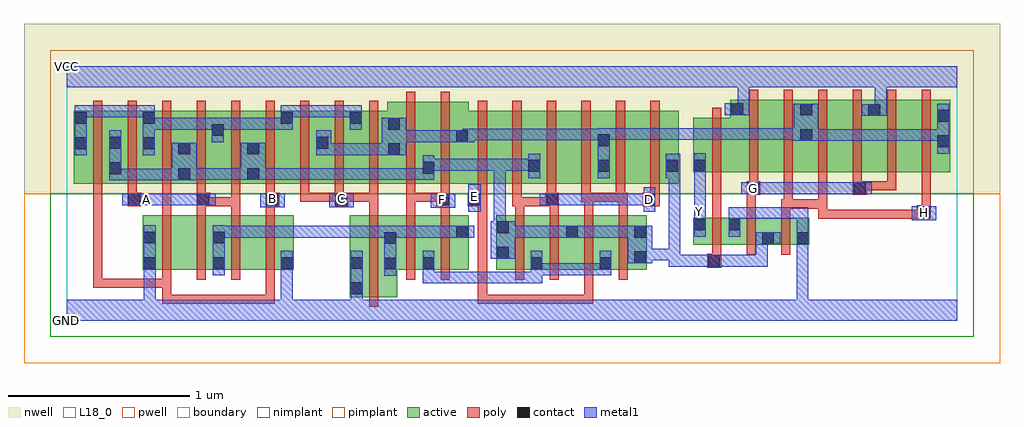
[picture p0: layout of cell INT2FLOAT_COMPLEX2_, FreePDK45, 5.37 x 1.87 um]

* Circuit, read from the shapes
.subckt INT2FLOAT_COMPLEX2_ A B C D E F G GND H VCC Y
M1 n1 B GND VSUBS nfet w=0.3u l=0.05u
M2 n2 A n1 VSUBS nfet w=0.3u l=0.05u
M3 n3 A n2 VSUBS nfet w=0.3u l=0.05u
M4 GND B n3 VSUBS nfet w=0.3u l=0.05u
M5 n2 C GND VSUBS nfet w=0.45u l=0.05u
M6 n4 F n2 VSUBS nfet w=0.3u l=0.05u m=2
M7 n4 D n5 VSUBS nfet w=0.3u l=0.05u m=2
M8 n4 E n5 VSUBS nfet w=0.3u l=0.05u m=2
M9 GND n5 Y VSUBS nfet w=0.15u l=0.05u
M10 n5 G GND VSUBS nfet w=0.15u l=0.05u
M11 GND H n5 VSUBS nfet w=0.15u l=0.05u
M12 n5 B n6 n7 pfet w=0.4u l=0.05u m=3
M13 n6 A n5 n7 pfet w=0.4u l=0.05u m=3
M14 n8 C n6 n7 pfet w=0.4u l=0.05u m=3
M15 n5 F n8 n7 pfet w=0.45u l=0.05u m=2
M16 n9 E n8 n7 pfet w=0.4u l=0.05u
M17 n5 D n9 n7 pfet w=0.4u l=0.05u
M18 n10 D n5 n7 pfet w=0.4u l=0.05u
M19 n8 E n10 n7 pfet w=0.4u l=0.05u
M20 n11 E n8 n7 pfet w=0.4u l=0.05u
M21 n5 D n11 n7 pfet w=0.4u l=0.05u
M22 VCC n5 Y n7 pfet w=0.3u l=0.05u
M23 n12 G VCC n7 pfet w=0.4u l=0.05u
M24 n8 H n12 n7 pfet w=0.4u l=0.05u
M25 n13 H n8 n7 pfet w=0.4u l=0.05u
M26 VCC G n13 n7 pfet w=0.4u l=0.05u
M27 n14 G VCC n7 pfet w=0.4u l=0.05u
M28 n8 H n14 n7 pfet w=0.4u l=0.05u
.ends

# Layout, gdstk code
import gdstk
lib = gdstk.Library(unit=1e-6, precision=1e-09)
def R(c, l, rs):  # rectangles x0, y0, x1, y1
    for r in rs: c.add(gdstk.rectangle(r[:2], r[2:], *l))
def A(c, l, x, y, w, h, nx, ny, dx, dy):  # array of equal rectangles
    R(c, l, [(x+i*dx, y+j*dy, x+i*dx+w, y+j*dy+h) for i in range(nx) for j in range(ny)])
active = (1, 0)
pwell = (2, 0)
nwell = (3, 0)
nimplant = (4, 0)
pimplant = (5, 0)
poly = (9, 0)
contact = (10, 0)
metal1 = (11, 0)
L18_0 = (18, 0)
boundary = (235, 0)

int2float_complex2_ = lib.new_cell('INT2FLOAT_COMPLEX2_')
A(int2float_complex2_, active, 0.23, 0.755, 0.075, 0.315, 4, 1, 0.38, 0)
A(int2float_complex2_, active, 0.23, 0.755, 0.26, 0.4, 4, 1, 0.38, 0)
A(int2float_complex2_, active, 0.415, 0.755, 0.27, 0.4, 3, 1, 0.38, 0)
R(int2float_complex2_, active, [(1.56,0.13,1.82,0.58), (1.56,0.13,1.635,0.542), (1.745,0.2,1.82,0.58), (0.42,0.28,0.495,0.58), (0.42,0.28,0.645,0.58), (0.645,0.28,0.875,0.58), (0.8,0.28,0.875,0.517), (0.8,0.28,1.025,0.58), (1.025,0.28,1.25,0.58), (1.175,0.28,1.25,0.58), (1.745,0.28,2.03,0.58), (1.955,0.28,2.215,0.58), (1.955,0.28,2.03,0.395), (2.365,0.28,2.625,0.58), (2.55,0.28,2.82,0.58), (2.55,0.28,2.625,0.517), (2.745,0.28,3.005,0.58), (2.93,0.28,3.195,0.58), (2.93,0.28,3.005,0.445), (3.12,0.28,3.195,0.58), (2.14,0.33,2.215,0.58), (2.365,0.33,2.44,0.58), (2.745,0.33,2.82,0.527), (3.45,0.417,3.525,0.567), (3.45,0.417,3.715,0.567), (3.64,0.417,3.715,0.567), (3.64,0.417,3.9,0.567), (3.825,0.417,4.09,0.567), (3.825,0.417,3.9,0.492), (4.015,0.417,4.09,0.567), (0.04,0.755,0.115,1.155), (0.04,0.755,0.305,1.155), (0.415,0.755,0.49,1.155), (1.175,0.755,1.25,1.155), (1.555,0.755,1.63,1.155), (1.555,0.755,1.84,1.155), (1.765,0.755,1.84,1.2), (1.765,0.755,2.03,1.205), (1.955,0.755,2.215,1.205), (1.955,0.755,2.03,1.07), (2.14,0.755,2.385,1.155), (2.14,0.755,2.215,1.2), (2.385,0.755,2.612,1.155), (2.537,0.755,2.612,1.07), (2.537,0.755,2.765,1.155), (2.765,0.755,2.995,1.155), (2.92,0.755,3.145,1.155), (2.92,0.755,2.995,1.155), (3.145,0.755,3.37,1.155), (3.295,0.755,3.37,1.07), (3.45,0.817,3.73,1.117), (3.45,0.817,3.525,1.055), (3.655,0.817,3.88,1.217), (3.88,0.817,4.11,1.217), (4.035,0.817,4.26,1.217), (4.035,0.817,4.11,1.2), (4.26,0.817,4.485,1.217), (4.41,0.817,4.64,1.217), (4.41,0.817,4.485,1.217), (4.64,0.817,4.865,1.217), (4.79,0.817,4.865,1.165), (0.795,0.827,0.87,1.155), (3.655,0.96,3.73,1.217)])
R(int2float_complex2_, pwell, [(-0.235,-0.235,5.14,0.7)])
R(int2float_complex2_, nwell, [(-0.235,0.7,5.14,1.635)])
R(int2float_complex2_, nimplant, [(-0.09,-0.09,4.995,0.7)])
R(int2float_complex2_, pimplant, [(-0.09,0.7,4.995,1.49)])
A(int2float_complex2_, poly, 0.525, 0.225, 0.05, 0.41, 4, 1, 0.19, 0)
A(int2float_complex2_, poly, 2.47, 0.225, 0.05, 0.41, 4, 1, 0.19, 0)
A(int2float_complex2_, poly, 3.555, 0.362, 0.05, 0.26, 3, 1, 0.19, 0)
A(int2float_complex2_, poly, 0.525, 0.585, 0.05, 0.095, 4, 1, 0.19, 0)
A(int2float_complex2_, poly, 0.335, 0.63, 0.075, 0.075, 4, 1, 0.38, 0)
A(int2float_complex2_, poly, 0.335, 0.655, 0.05, 0.095, 3, 1, 0.38, 0)
A(int2float_complex2_, poly, 1.285, 0.655, 0.05, 0.095, 3, 1, 0.19, 0)
A(int2float_complex2_, poly, 2.645, 0.655, 0.05, 0.095, 4, 1, 0.19, 0)
A(int2float_complex2_, poly, 0.145, 0.7, 0.05, 0.51, 9, 1, 0.19, 0)
A(int2float_complex2_, poly, 2.265, 0.7, 0.05, 0.51, 6, 1, 0.19, 0)
A(int2float_complex2_, poly, 3.76, 0.762, 0.05, 0.51, 6, 1, 0.19, 0)
R(int2float_complex2_, poly, [(1.665,0.075,1.715,0.635), (0.525,0.092,0.707,0.142), (0.525,0.092,0.575,0.23), (0.657,0.092,0.707,0.142), (0.657,0.092,0.707,0.142), (0.657,0.092,0.707,0.142), (0.657,0.092,0.922,0.142), (0.872,0.092,0.922,0.142), (0.872,0.092,0.922,0.142), (0.872,0.092,0.922,0.142), (0.872,0.092,1.145,0.142), (1.095,0.092,1.145,0.142), (1.095,0.092,1.145,0.142), (1.095,0.092,1.145,0.142), (1.095,0.092,1.145,0.275), (2.265,0.092,2.315,0.142), (2.265,0.092,2.315,0.142), (2.265,0.092,2.315,0.142), (2.265,0.092,2.315,0.142), (2.265,0.092,2.315,0.142), (2.265,0.092,2.315,0.142), (2.265,0.092,2.315,0.142), (2.265,0.092,2.315,0.142), (2.265,0.092,2.315,0.142), (2.265,0.092,2.447,0.142), (2.265,0.092,2.315,0.68), (2.397,0.092,2.447,0.142), (2.397,0.092,2.447,0.142), (2.397,0.092,2.447,0.142), (2.397,0.092,2.752,0.142), (2.702,0.092,2.752,0.142), (2.702,0.092,2.752,0.142), (2.702,0.092,2.752,0.142), (2.702,0.092,2.9,0.142), (2.85,0.092,2.9,0.142), (2.85,0.092,2.9,0.275), (0.145,0.18,0.195,0.23), (0.145,0.18,0.195,0.23), (0.145,0.18,0.195,0.23), (0.145,0.18,0.195,0.23), (0.145,0.18,0.195,0.23), (0.145,0.18,0.195,0.23), (0.145,0.18,0.195,0.23), (0.145,0.18,0.195,0.23), (0.145,0.18,0.195,0.23), (0.145,0.18,0.195,0.23), (0.145,0.18,0.195,0.23), (0.145,0.18,0.442,0.23), (0.145,0.18,0.195,0.75), (0.392,0.18,0.442,0.23), (0.392,0.18,0.442,0.23), (0.392,0.18,0.442,0.23), (0.392,0.18,0.575,0.23), (0.525,0.18,0.575,0.275), (1.87,0.225,1.92,0.635), (2.06,0.225,2.11,0.635), (3.527,0.292,3.605,0.367), (3.555,0.317,3.605,0.412), (4.14,0.56,4.19,0.61), (4.14,0.56,4.19,0.61), (4.14,0.56,4.19,0.61), (4.14,0.56,4.19,0.61), (4.14,0.56,4.19,0.61), (4.14,0.56,4.322,0.61), (4.14,0.56,4.19,0.667), (4.272,0.56,4.322,0.61), (4.272,0.56,4.322,0.61), (4.272,0.56,4.322,0.61), (4.272,0.56,4.602,0.61), (4.552,0.56,4.602,0.61), (4.552,0.56,4.735,0.61), (4.685,0.56,4.735,0.61), (4.685,0.56,4.735,0.61), (4.685,0.56,4.735,0.61), (4.685,0.56,4.735,0.61), (4.685,0.56,4.735,0.61), (4.685,0.56,4.735,0.61), (4.685,0.56,4.76,0.635), (3.555,0.572,3.605,0.667), (3.745,0.572,3.795,0.742), (3.935,0.572,3.985,0.667), (1.665,0.585,1.715,0.705), (1.87,0.585,1.92,0.705), (2.06,0.585,2.11,0.68), (2.47,0.585,2.52,0.68), (2.66,0.585,2.71,0.68), (2.85,0.585,2.9,0.705), (3.04,0.585,3.09,0.705), (4.71,0.585,4.76,0.812), (3.555,0.617,3.605,0.667), (3.555,0.617,3.605,0.812), (3.935,0.617,4,0.667), (3.95,0.617,4,0.667), (3.95,0.617,4,0.667), (3.95,0.617,4,0.812), (3.95,0.617,4.19,0.667), (4.14,0.617,4.19,0.667), (4.14,0.617,4.19,0.812), (0.525,0.63,0.575,0.68), (0.525,0.63,0.575,0.75), (0.74,0.63,0.955,0.68), (0.905,0.63,0.955,0.68), (0.905,0.63,0.955,0.68), (0.905,0.63,0.955,0.68), (0.905,0.63,0.955,0.75), (2.035,0.63,2.11,0.705), (2.21,0.63,2.315,0.705), (2.455,0.63,2.52,0.68), (2.455,0.63,2.505,0.75), (2.47,0.63,2.52,0.68), (2.47,0.63,2.52,0.68), (2.47,0.63,2.685,0.68), (2.635,0.63,2.71,0.705), (3.172,0.63,3.265,0.705), (1.285,0.655,1.335,0.705), (1.285,0.655,1.525,0.705), (1.475,0.655,1.525,0.705), (1.475,0.655,1.525,0.705), (1.5,0.655,1.715,0.705), (1.665,0.655,1.715,0.705), (1.665,0.655,1.715,0.705), (1.665,0.655,1.715,0.705), (1.87,0.655,1.92,0.705), (1.87,0.655,1.92,0.705), (1.87,0.655,1.92,0.705), (1.87,0.655,1.92,0.75), (1.87,0.655,2.085,0.705), (2.06,0.655,2.11,0.75), (2.265,0.655,2.315,0.75), (2.835,0.655,2.9,0.705), (2.85,0.655,2.9,0.705), (2.85,0.655,2.9,0.705), (2.85,0.655,3.075,0.705), (3.025,0.655,3.09,0.705), (3.745,0.692,3.82,0.767), (4.33,0.692,4.405,0.767), (1.87,0.7,1.92,1.26), (2.06,0.7,2.11,1.26), (3.76,0.717,3.81,0.812), (4.33,0.717,4.38,0.812), (4.355,0.717,4.57,0.767), (4.52,0.717,4.57,0.767), (4.52,0.717,4.57,0.767), (4.52,0.717,4.57,0.767), (4.52,0.717,4.57,0.812), (3.555,0.762,3.605,1.172)])
A(int2float_complex2_, contact, 0.34, 0.635, 0.065, 0.065, 4, 1, 0.38, 0)
R(int2float_complex2_, contact, [(1.565,0.145,1.63,0.21), (1.75,0.282,1.815,0.347), (0.425,0.285,0.49,0.35), (0.805,0.285,0.87,0.35), (1.18,0.285,1.245,0.35), (1.565,0.285,1.63,0.35), (1.96,0.285,2.025,0.35), (2.555,0.285,2.62,0.35), (2.935,0.285,3,0.35), (3.532,0.297,3.597,0.362), (3.125,0.317,3.19,0.382), (2.37,0.342,2.435,0.407), (1.75,0.422,1.815,0.487), (3.83,0.422,3.895,0.487), (4.02,0.422,4.085,0.487), (0.425,0.425,0.49,0.49), (0.805,0.425,0.87,0.49), (2.145,0.457,2.21,0.522), (2.75,0.457,2.815,0.522), (3.125,0.457,3.19,0.522), (2.37,0.482,2.435,0.547), (3.455,0.497,3.52,0.562), (3.645,0.497,3.71,0.562), (4.69,0.565,4.755,0.63), (2.04,0.635,2.105,0.7), (2.215,0.635,2.28,0.7), (2.64,0.635,2.705,0.7), (3.177,0.635,3.242,0.7), (3.75,0.697,3.815,0.762), (4.335,0.697,4.4,0.762), (0.615,0.775,0.68,0.84), (0.995,0.775,1.06,0.84), (0.235,0.807,0.3,0.872), (1.96,0.81,2.025,0.875), (2.542,0.82,2.607,0.885), (2.925,0.82,2.99,0.885), (3.3,0.82,3.365,0.885), (3.455,0.822,3.52,0.887), (1.77,0.912,1.835,0.977), (0.615,0.915,0.68,0.98), (0.995,0.915,1.06,0.98), (0.045,0.945,0.11,1.01), (0.42,0.945,0.485,1.01), (0.235,0.947,0.3,1.012), (1.375,0.947,1.44,1.012), (4.795,0.955,4.86,1.02), (2.925,0.96,2.99,1.025), (2.145,0.982,2.21,1.047), (4.04,0.99,4.105,1.055), (0.8,1.017,0.865,1.082), (1.77,1.052,1.835,1.117), (0.045,1.085,0.11,1.15), (0.42,1.085,0.485,1.15), (1.18,1.085,1.245,1.15), (1.56,1.085,1.625,1.15), (4.795,1.095,4.86,1.16), (4.415,1.127,4.48,1.192), (4.04,1.13,4.105,1.195), (3.66,1.132,3.725,1.197)])
R(int2float_complex2_, metal1, [(0,0,4.905,0.115), (0.425,0.05,0.49,0.115), (0.425,0.05,0.49,0.115), (0.425,0.05,0.49,0.315), (1.18,0.05,1.245,0.115), (1.18,0.05,1.245,0.115), (1.18,0.05,1.245,0.115), (1.18,0.05,1.245,0.115), (1.18,0.05,1.245,0.315), (1.565,0.05,1.63,0.115), (1.565,0.05,1.63,0.115), (1.565,0.05,1.63,0.175), (4.02,0.05,4.085,0.115), (4.02,0.05,4.085,0.115), (4.02,0.05,4.085,0.115), (4.02,0.05,4.085,0.115), (4.02,0.05,4.085,0.452), (1.565,0.11,1.63,0.385), (1.96,0.205,2.175,0.27), (1.96,0.205,2.025,0.315), (2.11,0.205,2.175,0.27), (2.11,0.205,2.175,0.27), (2.11,0.205,2.175,0.27), (2.11,0.205,2.382,0.27), (2.317,0.205,2.382,0.27), (2.317,0.205,2.452,0.27), (2.387,0.205,2.452,0.27), (2.387,0.205,2.62,0.27), (2.555,0.205,2.62,0.385), (1.75,0.247,1.815,0.522), (0.425,0.25,0.49,0.315), (0.425,0.25,0.49,0.315), (0.425,0.25,0.49,0.525), (0.805,0.25,0.87,0.525), (1.18,0.25,1.245,0.385), (1.96,0.25,2.025,0.315), (1.96,0.25,2.025,0.385), (2.555,0.25,2.62,0.315), (2.555,0.25,2.62,0.315), (2.555,0.25,2.852,0.315), (2.787,0.25,2.852,0.315), (2.787,0.25,2.877,0.315), (2.812,0.25,2.877,0.315), (2.812,0.25,3,0.315), (2.935,0.25,3,0.385), (3.315,0.297,3.562,0.362), (3.315,0.297,3.38,0.39), (3.497,0.297,3.632,0.362), (3.567,0.297,3.632,0.362), (3.567,0.297,3.632,0.362), (3.567,0.297,3.86,0.362), (3.795,0.297,3.86,0.362), (3.795,0.297,3.86,0.362), (3.795,0.297,3.86,0.362), (3.795,0.297,3.86,0.487), (3.09,0.317,3.225,0.522), (3.315,0.325,3.38,0.39), (3.315,0.325,3.38,0.39), (3.315,0.325,3.38,0.39), (3.315,0.325,3.38,0.39), (3.315,0.325,3.38,0.397), (3.16,0.332,3.225,0.397), (3.16,0.332,3.225,0.397), (3.16,0.332,3.38,0.397), (3.315,0.332,3.38,0.397), (3.315,0.332,3.38,0.85), (2.335,0.342,2.47,0.547), (4.02,0.387,4.085,0.452), (4.02,0.387,4.085,0.452), (4.02,0.387,4.085,0.522), (3.795,0.422,3.93,0.487), (0.805,0.457,0.87,0.522), (0.805,0.457,0.87,0.522), (0.805,0.457,1.025,0.522), (0.96,0.457,1.025,0.522), (0.96,0.457,1.025,0.522), (0.96,0.457,1.025,0.522), (0.96,0.457,1.285,0.522), (1.22,0.457,1.285,0.522), (1.22,0.457,1.285,0.522), (1.22,0.457,1.285,0.522), (1.22,0.457,1.47,0.522), (1.405,0.457,1.47,0.522), (1.405,0.457,1.47,0.522), (1.405,0.457,1.47,0.522), (1.405,0.457,1.607,0.522), (1.542,0.457,1.607,0.522), (1.542,0.457,1.607,0.522), (1.542,0.457,1.607,0.522), (1.542,0.457,1.815,0.522), (1.75,0.457,1.815,0.522), (1.75,0.457,1.815,0.522), (1.75,0.457,2.037,0.522), (1.972,0.457,2.037,0.522), (1.972,0.457,2.037,0.522), (1.972,0.457,2.037,0.522), (1.972,0.457,2.175,0.522), (2.11,0.457,2.245,0.522), (2.405,0.457,2.47,0.522), (2.405,0.457,2.47,0.522), (2.405,0.457,2.607,0.522), (2.542,0.457,2.607,0.522), (2.542,0.457,2.607,0.522), (2.542,0.457,2.607,0.522), (2.542,0.457,2.78,0.522), (2.715,0.457,2.85,0.522), (2.785,0.457,2.877,0.522), (2.812,0.457,2.877,0.522), (2.812,0.457,3.015,0.522), (2.95,0.457,3.015,0.522), (2.95,0.457,3.015,0.522), (2.95,0.457,3.015,0.522), (2.95,0.457,3.155,0.522), (4.02,0.457,4.085,0.625), (3.455,0.462,3.52,0.597), (3.645,0.462,3.71,0.625), (2.352,0.482,2.417,0.89), (3.455,0.532,3.52,0.597), (3.455,0.532,3.52,0.667), (4.655,0.552,4.79,0.63), (3.645,0.56,3.847,0.625), (3.782,0.56,3.847,0.625), (3.782,0.56,3.847,0.625), (3.782,0.56,3.847,0.625), (3.782,0.56,4.085,0.625), (4.02,0.56,4.085,0.625), (4.02,0.56,4.085,0.625), (4.02,0.56,4.085,0.625), (2.212,0.6,2.28,0.752), (3.177,0.6,3.242,0.735), (3.455,0.602,3.52,0.852), (2.005,0.622,2.14,0.7), (1.065,0.625,1.2,0.702), (1.445,0.625,1.58,0.702), (0.305,0.635,0.44,0.7), (0.372,0.635,0.507,0.7), (0.375,0.635,0.44,0.7), (0.442,0.635,0.577,0.7), (0.512,0.635,0.577,0.7), (0.512,0.635,0.727,0.7), (0.662,0.635,0.727,0.7), (0.662,0.635,0.75,0.7), (0.685,0.635,0.82,0.7), (2.605,0.635,2.74,0.7), (2.675,0.635,2.852,0.7), (2.787,0.635,2.852,0.7), (2.787,0.635,2.877,0.7), (2.812,0.635,2.877,0.7), (2.812,0.635,3.015,0.7), (2.95,0.635,3.015,0.7), (2.95,0.635,3.015,0.7), (2.95,0.635,3.015,0.7), (2.95,0.635,3.227,0.7), (3.162,0.635,3.227,0.7), (3.162,0.635,3.242,0.7), (3.715,0.697,3.85,0.762), (3.785,0.697,3.85,0.762), (3.785,0.697,3.85,0.762), (3.785,0.697,3.997,0.762), (3.932,0.697,3.997,0.762), (3.932,0.697,3.997,0.762), (3.932,0.697,3.997,0.762), (3.932,0.697,4.227,0.762), (4.162,0.697,4.227,0.762), (4.162,0.697,4.277,0.762), (4.212,0.697,4.277,0.762), (4.212,0.697,4.365,0.762), (4.3,0.697,4.435,0.762), (0.235,0.772,0.3,0.837), (0.235,0.772,0.3,0.837), (0.235,0.772,0.3,1.047), (0.235,0.772,0.437,0.837), (0.372,0.772,0.437,0.837), (0.372,0.772,0.577,0.837), (0.512,0.772,0.577,0.837), (0.512,0.772,0.645,0.837), (0.58,0.772,0.715,0.98), (0.65,0.775,0.715,0.84), (0.65,0.775,0.715,0.84), (0.65,0.775,0.887,0.84), (0.822,0.775,0.887,0.84), (0.822,0.775,0.887,0.84), (0.822,0.775,0.887,0.84), (0.822,0.775,1.025,0.84), (0.96,0.775,1.095,0.98), (1.03,0.775,1.095,0.84), (1.03,0.775,1.095,0.84), (1.03,0.775,1.245,0.84), (1.18,0.775,1.245,0.84), (1.18,0.775,1.245,0.84), (1.18,0.775,1.245,0.84), (1.18,0.775,1.47,0.84), (1.405,0.775,1.47,0.84), (1.405,0.775,1.47,0.84), (1.405,0.775,1.47,0.84), (1.405,0.775,1.607,0.84), (1.542,0.775,1.607,0.84), (1.542,0.775,1.607,0.84), (1.542,0.775,1.607,0.84), (1.542,0.775,1.745,0.84), (1.68,0.775,1.745,0.84), (1.68,0.775,1.745,0.84), (1.68,0.775,1.745,0.84), (1.68,0.775,2.025,0.84), (1.96,0.775,2.025,0.91), (2.542,0.785,2.607,0.92), (2.925,0.785,2.99,1.06), (3.3,0.785,3.38,0.92), (3.315,0.785,3.38,0.85), (3.315,0.785,3.38,0.85), (3.455,0.787,3.52,0.922), (1.96,0.825,2.025,0.89), (1.96,0.825,2.025,0.89), (1.96,0.825,2.245,0.89), (2.18,0.825,2.245,0.89), (2.18,0.825,2.245,0.89), (2.18,0.825,2.245,0.89), (2.18,0.825,2.417,0.89), (2.352,0.825,2.417,0.89), (2.352,0.825,2.417,0.89), (2.352,0.825,2.417,0.89), (2.352,0.825,2.417,0.89), (2.352,0.825,2.417,0.89), (2.352,0.825,2.607,0.89), (0.045,0.91,0.11,1.185), (0.42,0.91,0.485,1.185), (1.375,0.912,1.457,1.047), (1.392,0.912,1.457,0.977), (1.392,0.912,1.457,0.977), (1.392,0.912,1.607,0.977), (1.542,0.912,1.607,0.977), (1.542,0.912,1.607,0.977), (1.542,0.912,1.607,0.977), (1.542,0.912,1.8,0.977), (1.735,0.912,1.87,1.117), (4.795,0.92,4.86,1.195), (0.8,0.982,0.865,1.117), (1.805,0.982,1.87,1.047), (1.805,0.982,1.87,1.047), (1.805,0.982,2.037,1.047), (1.972,0.982,2.037,1.047), (1.972,0.982,2.037,1.047), (1.972,0.982,2.037,1.047), (1.972,0.982,2.175,1.047), (2.11,0.982,2.245,1.047), (2.18,0.982,2.245,1.047), (2.18,0.982,2.245,1.057), (4.005,0.99,4.14,1.195), (4.075,0.99,4.227,1.055), (4.162,0.99,4.227,1.055), (4.162,0.99,4.277,1.055), (4.212,0.99,4.277,1.055), (4.212,0.99,4.445,1.055), (4.38,0.99,4.445,1.055), (4.38,0.99,4.445,1.055), (4.38,0.99,4.445,1.055), (4.38,0.99,4.582,1.055), (4.517,0.99,4.582,1.055), (4.517,0.99,4.582,1.055), (4.517,0.99,4.582,1.055), (4.517,0.99,4.86,1.055), (4.795,0.99,4.86,1.055), (4.795,0.99,4.86,1.055), (2.18,0.992,2.47,1.057), (2.405,0.992,2.47,1.057), (2.405,0.992,2.47,1.057), (2.405,0.992,2.47,1.057), (2.405,0.992,2.642,1.057), (2.577,0.992,2.642,1.057), (2.577,0.992,2.642,1.057), (2.577,0.992,2.642,1.057), (2.577,0.992,2.852,1.057), (2.787,0.992,2.852,1.057), (2.787,0.992,2.877,1.057), (2.812,0.992,2.877,1.057), (2.812,0.992,2.99,1.057), (2.925,0.995,3.015,1.06), (2.95,0.995,3.015,1.06), (2.95,0.995,3.227,1.06), (3.162,0.995,3.227,1.06), (3.162,0.995,3.227,1.06), (3.162,0.995,3.227,1.06), (3.162,0.995,3.38,1.06), (3.315,0.995,3.38,1.06), (3.315,0.995,3.38,1.06), (3.315,0.995,3.38,1.06), (3.315,0.995,3.642,1.06), (3.577,0.995,3.642,1.06), (3.577,0.995,3.642,1.06), (3.577,0.995,3.642,1.06), (3.577,0.995,3.847,1.06), (3.782,0.995,3.847,1.06), (3.782,0.995,3.847,1.06), (3.782,0.995,3.847,1.06), (3.782,0.995,4.07,1.06), (4.005,0.995,4.07,1.06), (4.005,0.995,4.07,1.06), (1.18,1.05,1.245,1.185), (1.56,1.05,1.625,1.185), (0.42,1.052,0.577,1.117), (0.512,1.052,0.577,1.117), (0.512,1.052,0.715,1.117), (0.65,1.052,0.715,1.117), (0.65,1.052,0.715,1.117), (0.65,1.052,0.715,1.117), (0.65,1.052,0.865,1.117), (0.8,1.052,0.865,1.117), (0.8,1.052,0.865,1.117), (0.8,1.052,1.107,1.117), (1.042,1.052,1.107,1.117), (1.042,1.052,1.107,1.117), (1.042,1.052,1.107,1.117), (1.042,1.052,1.245,1.117), (0.045,1.12,0.11,1.185), (0.045,1.12,0.11,1.185), (0.045,1.12,0.3,1.185), (0.235,1.12,0.3,1.185), (0.235,1.12,0.3,1.185), (0.235,1.12,0.3,1.185), (0.235,1.12,0.485,1.185), (1.18,1.12,1.245,1.185), (1.18,1.12,1.245,1.185), (1.18,1.12,1.47,1.185), (1.405,1.12,1.47,1.185), (1.405,1.12,1.47,1.185), (1.405,1.12,1.47,1.185), (1.405,1.12,1.625,1.185), (4.38,1.127,4.515,1.192), (4.45,1.127,4.515,1.35), (3.625,1.132,3.76,1.197), (3.695,1.132,3.76,1.35), (0,1.285,4.905,1.4)])
R(int2float_complex2_, L18_0, [(0,0,4.905,0.115), (0.425,0.05,0.49,0.115), (0.425,0.05,0.49,0.115), (0.425,0.05,0.49,0.315), (1.18,0.05,1.245,0.115), (1.18,0.05,1.245,0.115), (1.18,0.05,1.245,0.115), (1.18,0.05,1.245,0.115), (1.18,0.05,1.245,0.315), (1.565,0.05,1.63,0.115), (1.565,0.05,1.63,0.115), (1.565,0.05,1.63,0.175), (4.02,0.05,4.085,0.115), (4.02,0.05,4.085,0.115), (4.02,0.05,4.085,0.115), (4.02,0.05,4.085,0.115), (4.02,0.05,4.085,0.452), (1.565,0.11,1.63,0.385), (0.425,0.25,0.49,0.315), (0.425,0.25,0.49,0.315), (0.425,0.25,0.49,0.525), (1.18,0.25,1.245,0.385), (4.02,0.387,4.085,0.452), (4.02,0.387,4.085,0.452), (4.02,0.387,4.085,0.522), (4.02,0.457,4.085,0.625), (3.455,0.462,3.52,0.597), (3.645,0.462,3.71,0.625), (3.455,0.532,3.52,0.597), (3.455,0.532,3.52,0.667), (4.655,0.552,4.79,0.63), (3.645,0.56,3.847,0.625), (3.782,0.56,3.847,0.625), (3.782,0.56,3.847,0.625), (3.782,0.56,3.847,0.625), (3.782,0.56,4.085,0.625), (4.02,0.56,4.085,0.625), (4.02,0.56,4.085,0.625), (4.02,0.56,4.085,0.625), (4.69,0.565,4.755,0.63), (3.455,0.567,3.52,0.632), (2.212,0.6,2.28,0.752), (3.177,0.6,3.242,0.735), (3.455,0.602,3.52,0.852), (2.005,0.622,2.14,0.7), (1.065,0.625,1.2,0.702), (1.445,0.625,1.58,0.702), (0.305,0.635,0.44,0.7), (0.372,0.635,0.507,0.7), (0.375,0.635,0.44,0.7), (0.407,0.635,0.472,0.7), (0.442,0.635,0.577,0.7), (0.512,0.635,0.577,0.7), (0.512,0.635,0.727,0.7), (0.662,0.635,0.727,0.7), (0.662,0.635,0.75,0.7), (0.685,0.635,0.82,0.7), (2.04,0.635,2.105,0.7), (2.605,0.635,2.74,0.7), (2.675,0.635,2.852,0.7), (2.787,0.635,2.852,0.7), (2.787,0.635,2.877,0.7), (2.812,0.635,2.877,0.7), (2.812,0.635,3.015,0.7), (2.95,0.635,3.015,0.7), (2.95,0.635,3.015,0.7), (2.95,0.635,3.015,0.7), (2.95,0.635,3.227,0.7), (3.162,0.635,3.227,0.7), (3.162,0.635,3.242,0.7), (3.177,0.635,3.242,0.7), (1.1,0.637,1.165,0.702), (1.48,0.637,1.545,0.702), (2.215,0.652,2.28,0.717), (3.715,0.697,3.85,0.762), (3.75,0.697,3.815,0.762), (3.785,0.697,3.85,0.762), (3.785,0.697,3.85,0.762), (3.785,0.697,3.997,0.762), (3.932,0.697,3.997,0.762), (3.932,0.697,3.997,0.762), (3.932,0.697,3.997,0.762), (3.932,0.697,4.227,0.762), (4.162,0.697,4.227,0.762), (4.162,0.697,4.277,0.762), (4.212,0.697,4.277,0.762), (4.212,0.697,4.365,0.762), (4.3,0.697,4.435,0.762), (3.455,0.787,3.52,0.922), (4.38,1.127,4.515,1.192), (4.45,1.127,4.515,1.35), (3.625,1.132,3.76,1.197), (3.695,1.132,3.76,1.35), (0,1.285,4.905,1.4)])
R(int2float_complex2_, boundary, [(0,0,4.905,1.4)])
int2float_complex2_.add(gdstk.Label('A', (0.44,0.667), layer=11, texttype=0))
int2float_complex2_.add(gdstk.Label('B', (1.132,0.67), layer=11, texttype=0))
int2float_complex2_.add(gdstk.Label('C', (1.512,0.67), layer=11, texttype=0))
int2float_complex2_.add(gdstk.Label('D', (3.21,0.667), layer=11, texttype=0))
int2float_complex2_.add(gdstk.Label('E', (2.247,0.685), layer=11, texttype=0))
int2float_complex2_.add(gdstk.Label('F', (2.072,0.667), layer=11, texttype=0))
int2float_complex2_.add(gdstk.Label('G', (3.782,0.73), layer=11, texttype=0))
int2float_complex2_.add(gdstk.Label('H', (4.722,0.597), layer=11, texttype=0))
int2float_complex2_.add(gdstk.Label('Y', (3.487,0.6), layer=11, texttype=0))
int2float_complex2_.add(gdstk.Label('VCC', (0,1.4), layer=11, texttype=0))
int2float_complex2_.add(gdstk.Label('GND', (0,0), layer=11, texttype=0))

lib.write_gds('INT2FLOAT_COMPLEX2_.gds')
